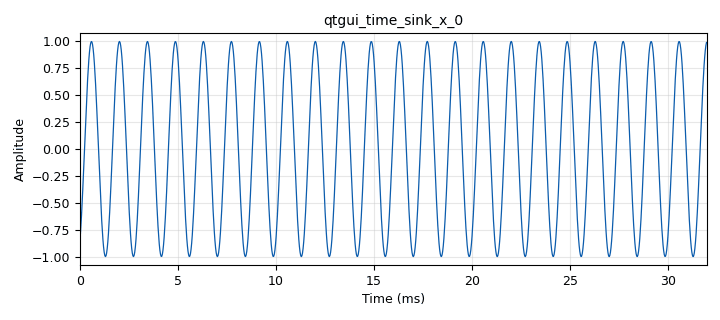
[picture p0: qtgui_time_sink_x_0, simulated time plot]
<?xml version='1.0' encoding='utf-8'?>
<?grc format='1' created='3.7.7'?>
<flow_graph>
<block>
<key>options</key>
<param><key>id</key><value>fm_modulation</value></param>
<param><key>title</key><value>FM modulation</value></param>
<param><key>author</key><value>haxwithaxe</value></param>
<param><key>description</key><value>Learning about modulation and demodulation.</value></param>
<param><key>generate_options</key><value>qt_gui</value></param>
<param><key>category</key><value>Custom</value></param>
</block>
<block>
<key>variable</key>
<param><key>id</key><value>samp_rate</value></param>
<param><key>value</key><value>32000</value></param>
</block>
<block>
<key>blocks_divide_xx</key>
<param><key>id</key><value>blocks_divide_xx_0</value></param>
<param><key>type</key><value>complex</value></param>
</block>
<block>
<key>analog_sig_source_x</key>
<param><key>id</key><value>analog_sig_source_x_0</value></param>
<param><key>type</key><value>complex</value></param>
<param><key>samp_rate</key><value>samp_rate</value></param>
<param><key>waveform</key><value>analog.GR_COS_WAVE</value></param>
<param><key>freq</key><value>1000</value></param>
<param><key>amp</key><value>1</value></param>
<param><key>offset</key><value>0</value></param>
</block>
<block>
<key>blocks_throttle</key>
<param><key>id</key><value>blocks_throttle_0</value></param>
<param><key>type</key><value>complex</value></param>
<param><key>samples_per_second</key><value>samp_rate</value></param>
</block>
<block>
<key>blocks_complex_to_float</key>
<param><key>id</key><value>blocks_complex_to_float_0</value></param>
</block>
<block>
<key>qtgui_time_sink_x</key>
<param><key>id</key><value>qtgui_time_sink_x_0</value></param>
<param><key>type</key><value>float</value></param>
<param><key>size</key><value>1024</value></param>
<param><key>srate</key><value>samp_rate</value></param>
<param><key>label1</key><value></value></param>
<param><key>color1</key><value>"blue"</value></param>
</block>
<block>
<key>variable_qtgui_range</key>
<param><key>id</key><value>mic_freq_slider</value></param>
<param><key>label</key><value>Input Ferq</value></param>
<param><key>value</key><value>300</value></param>
<param><key>start</key><value>300</value></param>
<param><key>stop</key><value>3000</value></param>
<param><key>step</key><value>10</value></param>
<param><key>orient</key><value>Qt.Horizontal</value></param>
</block>
<block>
<key>analog_sig_source_x</key>
<param><key>id</key><value>analog_sig_source_x_1</value></param>
<param><key>type</key><value>complex</value></param>
<param><key>samp_rate</key><value>samp_rate</value></param>
<param><key>waveform</key><value>analog.GR_COS_WAVE</value></param>
<param><key>freq</key><value>mic_freq_slider</value></param>
<param><key>amp</key><value>1</value></param>
<param><key>offset</key><value>0</value></param>
</block>
<connection><source_block_id>blocks_throttle_0</source_block_id><sink_block_id>blocks_complex_to_float_0</sink_block_id><source_key>0</source_key><sink_key>0</sink_key></connection>
<connection><source_block_id>blocks_divide_xx_0</source_block_id><sink_block_id>blocks_throttle_0</sink_block_id><source_key>0</source_key><sink_key>0</sink_key></connection>
<connection><source_block_id>analog_sig_source_x_1</source_block_id><sink_block_id>blocks_divide_xx_0</sink_block_id><source_key>0</source_key><sink_key>1</sink_key></connection>
<connection><source_block_id>analog_sig_source_x_0</source_block_id><sink_block_id>blocks_divide_xx_0</sink_block_id><source_key>0</source_key><sink_key>0</sink_key></connection>
<connection><source_block_id>blocks_complex_to_float_0</source_block_id><sink_block_id>qtgui_time_sink_x_0</sink_block_id><source_key>0</source_key><sink_key>0</sink_key></connection>
</flow_graph>
